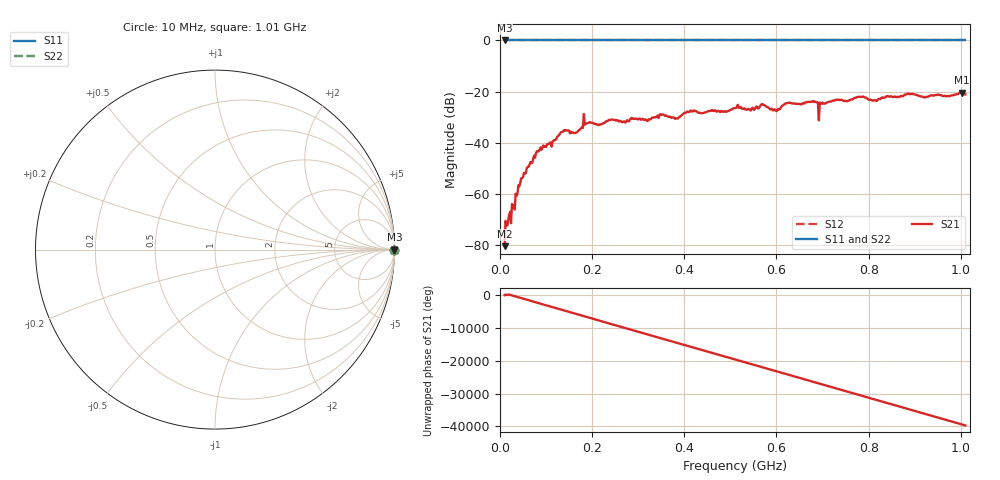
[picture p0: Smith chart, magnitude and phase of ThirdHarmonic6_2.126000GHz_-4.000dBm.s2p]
! 8/17/2025 1:24:28 AM
! C:\ANRITSUVNA\TEMP\TEMP.S2P
! CHANNEL.1
! TR.MEASUREMENT
! RAW.DATA
! RF.CORRECTION.OFF
! AVERAGING.OFF
! IF.BANDWIDTH: 5KHZ
! SWEEPTYPE:  FREQ.SWEEP(Linear)
! Reference Plane Port Info
! PORT:  PORT1  PORT2
! DISTANCE:  0  m  0  m
! TIME:  0  s  0  s
! PHASE.OFFSET:  0  deg.  0  deg.
! LOSS:  0  dB  0  dB
! REF.LOSS:  0  dB  0  dB
! REF.FREQ:  0  Hz  0  Hz
! Power Info
! POWER:  -20  dBm  -20  dBm
! EFF.POWER:  -20  dBm  -20  dBm
! SOURCE.ATTEN:  0  dB  0  dB
! TEST.ATTEN:  0  dB  0  dB
# GHZ S RI R 50.0
! FREQ.GHZ  S11RE  S11IM  S21RE  S21IM  S12RE  S12IM  S22RE  S22IM
!; PortSelection: Port_12
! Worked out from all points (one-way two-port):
!   501 points, 10 MHz to 1.01 GHz, reference 50 ohm
!   highest |S21| = -20.41 dB at 1.002 GHz (marker M1); lowest = -80.5 dB at 10 MHz (marker M2)
!   lowest |S11| = 0.0 dB at 10 MHz (marker M3)
!   |S11| at or under -10 dB: nowhere
!   |S22| runs from 0.0 to 0.0 dB; largest |S21 - S12| = 1.1
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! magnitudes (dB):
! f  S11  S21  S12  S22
! 10 MHz  0.0  -80.5  0.0  0.0
! 16 MHz  0.0  -72.4  0.0  0.0
! 28 MHz  0.0  -65.1  0.0  0.0
! 44 MHz  0.0  -55.7  0.0  0.0
! 78 MHz  0.0  -44.1  0.0  0.0
! 136 MHz  0.0  -35.7  0.0  0.0
! 164 MHz  0.0  -36.2  0.0  0.0
! 178 MHz  0.0  -33.8  0.0  0.0
! 344 MHz  0.0  -30.4  0.0  0.0
! 382 MHz  0.0  -30.5  0.0  0.0
! 410 MHz  0.0  -28.0  0.0  0.0
! 510 MHz  0.0  -26.4  0.0  0.0
! 548 MHz  0.0  -26.3  0.0  0.0
! 570 MHz  0.0  -24.9  0.0  0.0
! 598 MHz  0.0  -27.3  0.0  0.0
! 622 MHz  0.0  -24.6  0.0  0.0
! 678 MHz  0.0  -23.8  0.0  0.0
! 696 MHz  0.0  -24.5  0.0  0.0
! 732 MHz  0.0  -23.2  0.0  0.0
! 844 MHz  0.0  -22.0  0.0  0.0
! 1.002 GHz  0.0  -20.4  0.0  0.0
! 1.01 GHz  0.0  -21.1  0.0  0.0
